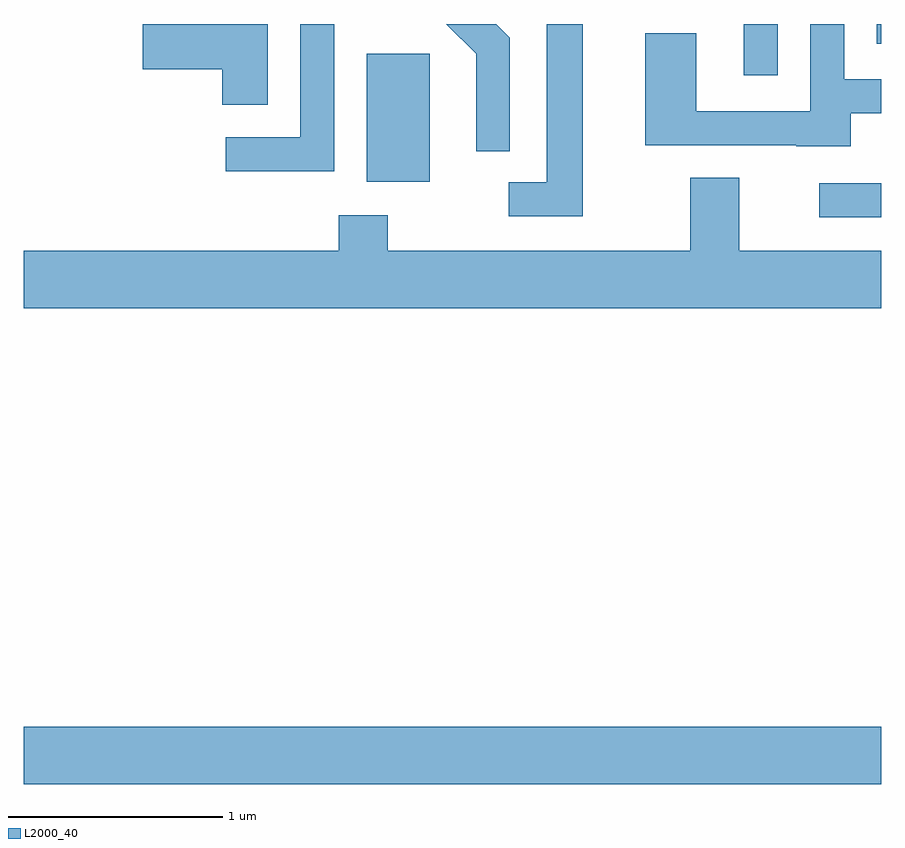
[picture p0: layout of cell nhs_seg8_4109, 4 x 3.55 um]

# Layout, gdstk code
import gdstk
lib = gdstk.Library(unit=1e-6, precision=1e-09)
def R(c, l, rs):  # rectangles x0, y0, x1, y1
    for r in rs: c.add(gdstk.rectangle(r[:2], r[2:], *l))
def P(c, l, *ps):  # polygons
    for p in ps: c.add(gdstk.Polygon(p, *l))
L2000_40 = (2000, 40)

nhs_seg8_4109 = lib.new_cell('nhs_seg8_4109')
R(nhs_seg8_4109, L2000_40, [(307.611,1900.796,311.611,1901.064), (311.323,1903.441,311.611,1903.599), (309.211,1903.606,309.504,1904.204), (310.971,1904.103,311.129,1904.342), (311.591,1904.251,311.611,1904.342)])
P(nhs_seg8_4109, L2000_40, [(309.059,1904.342),(308.901,1904.342),(308.901,1903.814),(308.553,1903.814),(308.553,1903.656),(309.059,1903.656)],
  [(309.879,1904.277),(309.814,1904.342),(309.583,1904.342),(309.721,1904.204),(309.721,1903.748),(309.879,1903.748)],
  [(311.469,1903.926),(311.611,1903.926),(311.611,1904.084),(311.439,1904.084),(311.439,1904.342),(311.281,1904.342),(311.281,1903.934),(310.749,1903.934),(310.749,1904.299),(310.511,1904.299),(310.511,1903.776),(311.215,1903.776),(311.215,1903.771),(311.469,1903.771)],
  [(310.219,1904.342),(310.051,1904.342),(310.051,1903.604),(309.873,1903.604),(309.873,1903.446),(310.219,1903.446)],
  [(308.749,1904.342),(308.166,1904.342),(308.166,1904.131),(308.536,1904.131),(308.536,1903.966),(308.749,1903.966)],
  [(311.611,1903.284),(310.949,1903.284),(310.949,1903.624),(310.721,1903.624),(310.721,1903.284),(309.309,1903.284),(309.309,1903.449),(309.081,1903.449),(309.081,1903.284),(307.611,1903.284),(307.611,1903.016),(311.611,1903.016)])

lib.write_gds('nhs_seg8_4109.gds')
